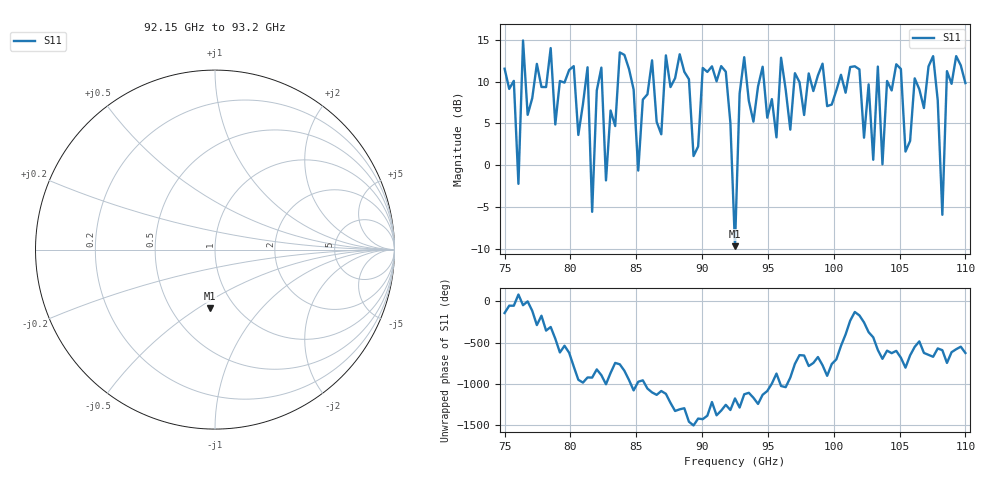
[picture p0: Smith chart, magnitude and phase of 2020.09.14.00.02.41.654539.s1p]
!Created with skrf (http://scikit-rf.org).
# GHz S RI R 50.0
!freq ReS11 ImS11
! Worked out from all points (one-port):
!   101 points, 75 GHz to 110 GHz, reference 50 ohm
!   lowest |S11| = -9.7 dB at 92.5 GHz (marker M1), VSWR 1.97, Z = 38.4 - j28.1 ohm
!   |S11| at or under -10 dB: nowhere
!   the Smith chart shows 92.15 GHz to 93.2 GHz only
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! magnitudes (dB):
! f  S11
! 75 GHz  11.5
! 75.7 GHz  10.1
! 76.05 GHz  -2.2
! 76.4 GHz  14.9
! 76.75 GHz  6.0
! 79.55 GHz  9.9
! 81.3 GHz  11.7
! 81.65 GHz  -5.6
! 82 GHz  8.9
! 82.35 GHz  11.7
! 82.7 GHz  -1.8
! 83.75 GHz  13.5
! 85.15 GHz  -0.7
! 86.2 GHz  12.5
! 86.9 GHz  3.7
! 88.3 GHz  13.3
! 89.35 GHz  1.1
! 91.8 GHz  11.2
! 92.5 GHz  -9.7
! 93.2 GHz  12.9
! 95.65 GHz  3.3
! 97.05 GHz  11.0
! 101.2 GHz  11.7
! 105.8 GHz  2.9
! 107.5 GHz  13.0
! 108.2 GHz  -5.9
! 108.6 GHz  11.2
! 110 GHz  9.8
